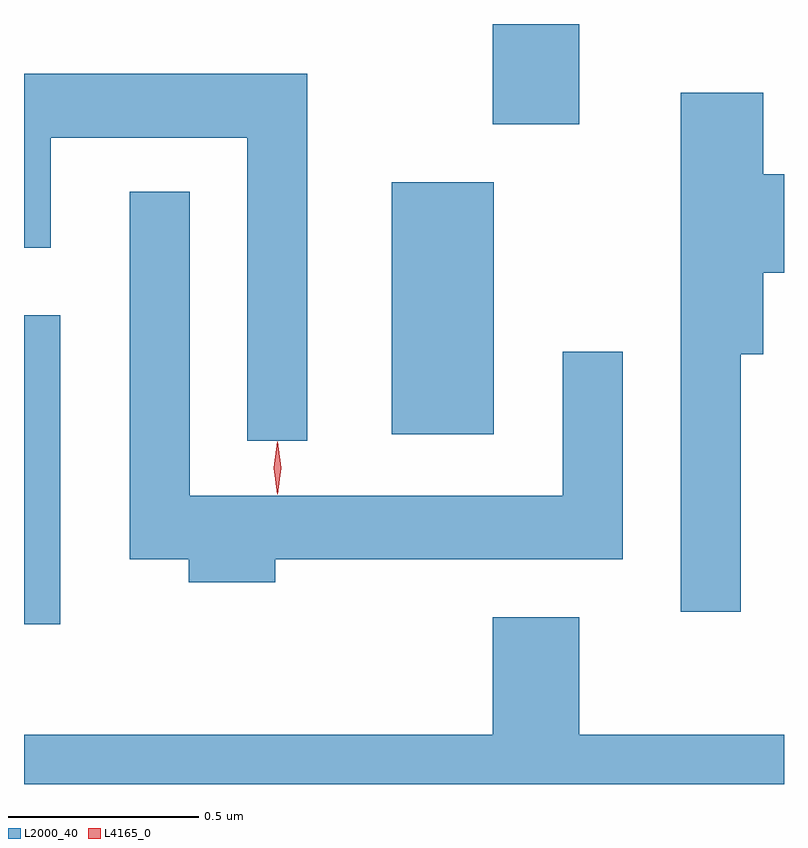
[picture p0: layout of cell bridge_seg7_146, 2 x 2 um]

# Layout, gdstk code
import gdstk
lib = gdstk.Library(unit=1e-6, precision=1e-09)
def R(c, l, rs):  # rectangles x0, y0, x1, y1
    for r in rs: c.add(gdstk.rectangle(r[:2], r[2:], *l))
def P(c, l, *ps):  # polygons
    for p in ps: c.add(gdstk.Polygon(p, *l))
L2000_40 = (2000, 40)
L4165_0 = (4165, 0)

bridge_seg7_146 = lib.new_cell('bridge_seg7_146')
R(bridge_seg7_146, L2000_40, [(1476.728,1721.536,1476.824,1722.349), (1477.696,1722.036,1477.964,1722.699), (1477.961,1722.851,1478.189,1723.115)])
P(bridge_seg7_146, L2000_40, [(1477.474,1722.984),(1476.728,1722.984),(1476.728,1722.526),(1476.799,1722.526),(1476.799,1722.816),(1477.316,1722.816),(1477.316,1722.018),(1477.474,1722.018)],
  [(1478.614,1722.246),(1478.674,1722.246),(1478.674,1722.461),(1478.728,1722.461),(1478.728,1722.719),(1478.674,1722.719),(1478.674,1722.934),(1478.456,1722.934),(1478.456,1721.568),(1478.614,1721.568)],
  [(1477.389,1721.706),(1478.304,1721.706),(1478.304,1722.253),(1478.146,1722.253),(1478.146,1721.874),(1477.164,1721.874),(1477.164,1722.673),(1477.006,1722.673),(1477.006,1721.706),(1477.161,1721.706),(1477.161,1721.646),(1477.389,1721.646)],
  [(1478.728,1721.244),(1478.189,1721.244),(1478.189,1721.554),(1477.961,1721.554),(1477.961,1721.244),(1476.728,1721.244),(1476.728,1721.115),(1478.728,1721.115)])
P(bridge_seg7_146, L4165_0, [(1477.395,1721.877),(1477.395,1721.877),(1477.385,1721.947),(1477.395,1722.016),(1477.395,1722.016),(1477.396,1722.016),(1477.405,1721.947),(1477.396,1721.877)],
  [(1477.395,1721.879),(1477.394,1721.88),(1477.385,1721.946),(1477.394,1722.012),(1477.395,1722.013),(1477.396,1722.012),(1477.405,1721.946),(1477.396,1721.88)])

lib.write_gds('bridge_seg7_146.gds')
